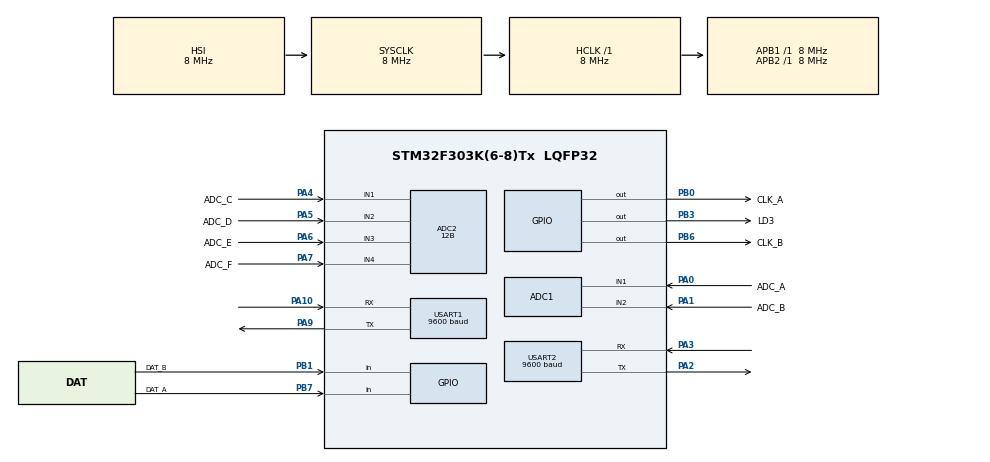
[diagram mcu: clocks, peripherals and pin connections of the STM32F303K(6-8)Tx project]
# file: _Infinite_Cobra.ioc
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ADC1.Channel-0\#ChannelRegularConversion=ADC_CHANNEL_1
ADC1.NbrOfConversionFlag=1
ADC1.Offset-0\#ChannelRegularConversion=0
ADC1.OffsetNumber-0\#ChannelRegularConversion=ADC_OFFSET_NONE
ADC1.Rank-0\#ChannelRegularConversion=1
ADC1.SamplingTime-0\#ChannelRegularConversion=ADC_SAMPLETIME_1CYCLE_5
ADC1.SubFamily=STM32F303x8
ADC1.master=1
ADC2.Channel-0\#ChannelRegularConversion=ADC_CHANNEL_1
ADC2.ClockPrescaler=ADC_CLOCK_ASYNC_DIV1
ADC2.ContinuousConvMode=DISABLE
ADC2.DMAContinuousRequests=DISABLE
ADC2.DataAlign=ADC_DATAALIGN_RIGHT
ADC2.DiscontinuousConvMode=DISABLE
ADC2.EOCSelection=ADC_EOC_SINGLE_CONV
ADC2.EnableAnalogWatchDog1=false
ADC2.EnableAnalogWatchDog2=false
ADC2.EnableAnalogWatchDog3=false
ADC2.EnableInjectedConversion=ENABLE
ADC2.EnableRegularConversion=ENABLE
ADC2.ExternalTrigConv=ADC_SOFTWARE_START
ADC2.ExternalTrigConvEdge=ADC_EXTERNALTRIGCONVEDGE_NONE
ADC2.InjNumberOfConversion=0
ADC2.LowPowerAutoWait=DISABLE
ADC2.NbrOfConversion=1
ADC2.NbrOfConversionFlag=1
ADC2.Offset-0\#ChannelRegularConversion=0
ADC2.OffsetNumber-0\#ChannelRegularConversion=ADC_OFFSET_NONE
ADC2.Overrun=ADC_OVR_DATA_OVERWRITTEN
ADC2.Rank-0\#ChannelRegularConversion=1
ADC2.Resolution=ADC_RESOLUTION_12B
ADC2.SamplingTime-0\#ChannelRegularConversion=ADC_SAMPLETIME_1CYCLE_5
ADC2.ScanConvMode=ADC_SCAN_DISABLE
ADC2.SubFamily=STM32F303x8
Dma.Request0=USART1_RX
Dma.Request1=USART1_TX
Dma.Request2=USART2_RX
Dma.Request3=USART2_TX
Dma.USART1_RX.0.Direction=DMA_PERIPH_TO_MEMORY
Dma.USART1_RX.0.Instance=DMA1_Channel5
Dma.USART1_RX.0.MemDataAlignment=DMA_MDATAALIGN_BYTE
Dma.USART1_RX.0.MemInc=DMA_MINC_ENABLE
Dma.USART1_RX.0.Mode=DMA_NORMAL
Dma.USART1_RX.0.PeriphDataAlignment=DMA_PDATAALIGN_BYTE
Dma.USART1_RX.0.PeriphInc=DMA_PINC_DISABLE
Dma.USART1_RX.0.Priority=DMA_PRIORITY_MEDIUM
Dma.USART1_TX.1.Direction=DMA_MEMORY_TO_PERIPH
Dma.USART1_TX.1.Instance=DMA1_Channel4
Dma.USART1_TX.1.MemDataAlignment=DMA_MDATAALIGN_BYTE
Dma.USART1_TX.1.MemInc=DMA_MINC_ENABLE
Dma.USART1_TX.1.Mode=DMA_NORMAL
Dma.USART1_TX.1.PeriphDataAlignment=DMA_PDATAALIGN_BYTE
Dma.USART1_TX.1.PeriphInc=DMA_PINC_DISABLE
Dma.USART1_TX.1.Priority=DMA_PRIORITY_MEDIUM
Dma.USART2_RX.2.Direction=DMA_PERIPH_TO_MEMORY
Dma.USART2_RX.2.Instance=DMA1_Channel6
Dma.USART2_RX.2.MemDataAlignment=DMA_MDATAALIGN_BYTE
Dma.USART2_RX.2.MemInc=DMA_MINC_ENABLE
Dma.USART2_RX.2.Mode=DMA_NORMAL
Dma.USART2_RX.2.PeriphDataAlignment=DMA_PDATAALIGN_BYTE
Dma.USART2_RX.2.PeriphInc=DMA_PINC_DISABLE
Dma.USART2_RX.2.Priority=DMA_PRIORITY_LOW
Dma.USART2_TX.3.Direction=DMA_MEMORY_TO_PERIPH
Dma.USART2_TX.3.Instance=DMA1_Channel7
Dma.USART2_TX.3.MemDataAlignment=DMA_MDATAALIGN_BYTE
Dma.USART2_TX.3.MemInc=DMA_MINC_ENABLE
Dma.USART2_TX.3.Mode=DMA_NORMAL
Dma.USART2_TX.3.PeriphDataAlignment=DMA_PDATAALIGN_BYTE
Dma.USART2_TX.3.PeriphInc=DMA_PINC_DISABLE
Dma.USART2_TX.3.Priority=DMA_PRIORITY_LOW
Mcu.Family=STM32F3
Mcu.Name=STM32F303K(6-8)Tx
Mcu.Package=LQFP32
NVIC.ADC1_2_IRQn=true\:0\:0\:false\:true\:true\:4\:true
NVIC.DMA1_Channel4_IRQn=true\:0\:0\:false\:true\:true\:1\:false
NVIC.DMA1_Channel5_IRQn=true\:0\:0\:false\:true\:true\:2\:false
NVIC.DMA1_Channel6_IRQn=true\:0\:0\:false\:true\:true\:3\:false
NVIC.DMA1_Channel7_IRQn=true\:0\:0\:false\:true\:true\:6\:false
NVIC.PriorityGroup=NVIC_PRIORITYGROUP_4
NVIC.USART1_IRQn=true\:0\:0\:false\:true\:true\:5\:true
NVIC.USART2_IRQn=true\:0\:0\:false\:false\:true\:true
PA0.GPIO_Label=ADC_A
PA0.Mode=IN1-Single-Ended
PA0.Signal=ADC1_IN1
PA1.GPIO_Label=ADC_B
PA1.Mode=IN2-Single-Ended
PA1.Signal=ADC1_IN2
PA10.Mode=Asynchronous
PA10.Signal=USART1_RX
PA2.Mode=Asynchronous
PA2.Signal=USART2_TX
PA3.Mode=Asynchronous
PA3.Signal=USART2_RX
PA4.GPIO_Label=ADC_C
PA4.Mode=IN1-Single-Ended
PA4.Signal=ADC2_IN1
PA5.GPIO_Label=ADC_D
PA5.Mode=IN2-Single-Ended
PA5.Signal=ADC2_IN2
PA6.GPIO_Label=ADC_E
PA6.Mode=IN3-Single-Ended
PA6.Signal=ADC2_IN3
PA7.GPIO_Label=ADC_F
PA7.Mode=IN4-Single-Ended
PA7.Signal=ADC2_IN4
PA9.Mode=Asynchronous
PA9.Signal=USART1_TX
PB0.GPIO_Label=CLK_A
PB0.Signal=GPIO_Output
PB1.GPIO_Label=DAT_B
PB1.Signal=GPIO_Input
PB3.GPIO_Label=LD3
PB3.Signal=GPIO_Output
PB6.GPIO_FM6=SYSCFG_CFGR1_I2C_PB6_FMP
PB6.GPIO_Label=CLK_B
PB6.Signal=GPIO_Output
PB7.GPIO_Label=DAT_A
PB7.Signal=GPIO_Input
PF0\ /\ OSC_IN.Mode=HSE-External-Oscillator
PF0\ /\ OSC_IN.Signal=RCC_OSC_IN
PF1\ /\ OSC_OUT.Mode=HSE-External-Oscillator
PF1\ /\ OSC_OUT.Signal=RCC_OSC_OUT
ProjectManager.HeapSize=0x200
ProjectManager.StackSize=0x400
ProjectManager.TargetToolchain=TrueSTUDIO
RCC.AHBFreq_Value=8000000
RCC.APB1Freq_Value=8000000
RCC.APB2Freq_Value=8000000
RCC.CortexFreq_Value=8000000
RCC.HSE_VALUE=8000000
RCC.HSI_VALUE=8000000
RCC.PLLMUL=RCC_PLL_MUL4
RCC.SYSCLKFreq_VALUE=8000000
USART1.BaudRate=9600
USART1.VirtualMode-Asynchronous=VM_ASYNC
USART1.WordLength=WORDLENGTH_8B
USART2.BaudRate=9600
USART2.VirtualMode-Asynchronous=VM_ASYNC
USART2.WordLength=WORDLENGTH_8B
board=_Infinite_Cobra

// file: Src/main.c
/**
 ******************************************************************************
 * @file           : main.c
 * @brief          : Main program body
 ******************************************************************************
 ** This notice applies to any and all portions of this file
 * that are not between comment pairs USER CODE BEGIN and
 * USER CODE END. Other portions of this file, whether
 * inserted by the user or by software development tools
 * are owned by their respective copyright owners.
 *
 * COPYRIGHT(c) 2018 STMicroelectronics
 *
 * Redistribution and use in source and binary forms, with or without modification,
 * are permitted provided that the following conditions are met:
 *   1. Redistributions of source code must retain the above copyright notice,
 *      this list of conditions and the following disclaimer.
 *   2. Redistributions in binary form must reproduce the above copyright notice,
 *      this list of conditions and the following disclaimer in the documentation
 *      and/or other materials provided with the distribution.
 *   3. Neither the name of STMicroelectronics nor the names of its contributors
 *      may be used to endorse or promote products derived from this software
 *      without specific prior written permission.
 *
 * THIS SOFTWARE IS PROVIDED BY THE COPYRIGHT HOLDERS AND CONTRIBUTORS "AS IS"
 * AND ANY EXPRESS OR IMPLIED WARRANTIES, INCLUDING, BUT NOT LIMITED TO, THE
 * IMPLIED WARRANTIES OF MERCHANTABILITY AND FITNESS FOR A PARTICULAR PURPOSE ARE
 * DISCLAIMED. IN NO EVENT SHALL THE COPYRIGHT HOLDER OR CONTRIBUTORS BE LIABLE
 * FOR ANY DIRECT, INDIRECT, INCIDENTAL, SPECIAL, EXEMPLARY, OR CONSEQUENTIAL
 * DAMAGES (INCLUDING, BUT NOT LIMITED TO, PROCUREMENT OF SUBSTITUTE GOODS OR
 * SERVICES; LOSS OF USE, DATA, OR PROFITS; OR BUSINESS INTERRUPTION) HOWEVER
 * CAUSED AND ON ANY THEORY OF LIABILITY, WHETHER IN CONTRACT, STRICT LIABILITY,
 * OR TORT (INCLUDING NEGLIGENCE OR OTHERWISE) ARISING IN ANY WAY OUT OF THE USE
 * OF THIS SOFTWARE, EVEN IF ADVISED OF THE POSSIBILITY OF SUCH DAMAGE.
 *
 ******************************************************************************
 */
#include "main.h"
#include "stm32f3xx_hal.h"

ADC_HandleTypeDef hadc1;
ADC_HandleTypeDef hadc2;

UART_HandleTypeDef huart1;
UART_HandleTypeDef huart2;
DMA_HandleTypeDef hdma_usart1_rx;
DMA_HandleTypeDef hdma_usart1_tx;
DMA_HandleTypeDef hdma_usart2_rx;
DMA_HandleTypeDef hdma_usart2_tx;

/* USER CODE BEGIN PV */
/* Private variables ---------------------------------------------------------*/

struct MSG;
struct CBUFF;
struct PARAMETERS;

CBUFF* cbuff = 0;
PARAMETERS* par = 0;

#define PIN_HI			1
#define PIN_LO			0
#define LSB				0
#define MSB				1
#define VERBOSE	TRUE

#define DAT_A_READ 		HAL_GPIO_ReadPin(DAT_A_GPIO_Port, DAT_A_Pin)
#define DAT_B_READ 		HAL_GPIO_ReadPin(DAT_B_GPIO_Port, DAT_B_Pin)
#define CLK_A_SET		HAL_GPIO_WritePin(CLK_A_GPIO_Port, CLK_A_Pin, GPIO_PIN_SET)
#define CLK_A_RESET		HAL_GPIO_WritePin(CLK_A_GPIO_Port, CLK_A_Pin, GPIO_PIN_RESET)
#define CLK_B_SET		HAL_GPIO_WritePin(CLK_B_GPIO_Port, CLK_B_Pin, GPIO_PIN_SET)
#define CLK_B_RESET		HAL_GPIO_WritePin(CLK_B_GPIO_Port, CLK_B_Pin, GPIO_PIN_RESET)
#define LED3_ON			HAL_GPIO_WritePin(LD3_GPIO_Port, LD3_Pin, GPIO_PIN_SET)
#define LED3_OFF		HAL_GPIO_WritePin(LD3_GPIO_Port, LD3_Pin, GPIO_PIN_RESET)

uint8_t buffer[B_SIZE];
uint8_t empty_buffer[B_SIZE];

uint8_t RX_B1[B_SIZE];
uint8_t RX_B2[B_SIZE];
uint8_t TX_B1[B_SIZE];
uint8_t TX_B2[B_SIZE];

char TX_T[B_SIZE];
char TX_A[B_SIZE];

uint8_t RX_buffer1[B_SIZE];
uint8_t RX_buffer2[B_SIZE];
uint8_t TX_buffer1[B_SIZE];
uint8_t TX_buffer2[B_SIZE];
uint8_t ADC_buffer[B_SIZE];
uint16_t len = sizeof(buffer), i, j, hmmmm;
int trans_delay = 75;
int ticker = 0;
unsigned long Count;

// EPOCHS
int epoch_LED = 0;
int epoch_TX = 0;
int epoch_INIT = 0;

volatile uint32_t a;
volatile uint32_t ADC_A_Value;
volatile uint32_t ADC_B_Value;
volatile uint32_t ADC_C_Value;
volatile uint32_t ADC_D_Value;
volatile uint32_t ADC_E_Value;
volatile uint32_t ADC_F_Value;

ADC_ChannelConfTypeDef sConfig_A;
ADC_ChannelConfTypeDef sConfig_B;
ADC_ChannelConfTypeDef sConfig_C;
ADC_ChannelConfTypeDef sConfig_D;
ADC_ChannelConfTypeDef sConfig_E;
ADC_ChannelConfTypeDef sConfig_F;

char* errorMsg = 0;

/* USER CODE END PV */

void SystemClock_Config(void);
static void MX_GPIO_Init(void);
static void MX_DMA_Init(void);
static void MX_USART1_UART_Init(void);
static void MX_USART2_UART_Init(void);
static void MX_ADC2_Init(void);
static void MX_ADC1_Init(void);
static void MX_NVIC_Init(void);

/* USER CODE BEGIN PFP */
/* Private function prototypes -----------------------------------------------*/
void Update_ADC_Values(void);
void read_HX711(void);
void HAL_Delay_Microseconds(__IO uint32_t);
int isTransmitting(UART_HandleTypeDef *, UART_HandleTypeDef *);
int strip_str(uint8_t[], uint8_t[]);
int channelBusy(UART_HandleTypeDef *);

/* USER CODE END PFP */

int main(void) {
	/* USER CODE BEGIN 1 */
	memset(RX_B1, 0, len);
	memset(RX_B2, 0, len);
	memset(TX_B1, 0, len);
	memset(TX_B2, 0, len);
	/* USER CODE END 1 */

	/* MCU Configuration----------------------------------------------------------*/

	/* Reset of all peripherals, Initializes the Flash interface and the Systick. */
	HAL_Init();

	/* Configure the system clock */
	SystemClock_Config();

	/* Initialize all configured peripherals */
	MX_GPIO_Init();
	MX_DMA_Init();
	MX_USART1_UART_Init();
	MX_USART2_UART_Init();
	MX_ADC2_Init();
	MX_ADC1_Init();

	/* Initialize interrupts */
	MX_NVIC_Init();
	/* USER CODE BEGIN 2 */

	memset(empty_buffer, 0, len);

	if (HAL_ADC_ConfigChannel(&hadc2, &sConfig_C) != HAL_OK) {
		_Error_Handler(__FILE__, __LINE__);
	}
	if (HAL_ADC_ConfigChannel(&hadc1, &sConfig_A) != HAL_OK) {
		_Error_Handler(__FILE__, __LINE__);
	}

	cbuff = circ_buff_init();
	par = parameters_init();
	/* USER CODE END 2 */

	/* Infinite loop */
	/* USER CODE BEGIN WHILE */
	/* USER CODE BEGIN WHILE */

	MSG* msg = 0;
	msg = (MSG*) malloc(sizeof(MSG));
	msg->type = 0;
	msg->ID = 0;
	msg->sign = 0;
	msg->value = 0;
	msg->complete = 0;

	MSG* msgT = 0;
	msgT = (MSG*) malloc(sizeof(MSG));
	msgT->type = 0;
	msgT->ID = 0;
	msgT->sign = 0;
	msgT->value = 0;
	msgT->complete = 0;

	MSG* msgA = 0;
	msgA = (MSG*) malloc(sizeof(MSG));
	msgA->type = 0;
	msgA->ID = 0;
	msgA->sign = 0;
	msgA->value = 0;
	msgA->complete = 0;

	memset(TX_buffer2, '&', B_SIZE);
	TX_buffer2[B_SIZE - 2] = '\n';
	TX_buffer2[B_SIZE - 1] = '\r';

	memset(TX_B1, 0, B_SIZE);
	sprintf(TX_B1, "\n\r\n\r/* BOOT COMPLETE -> INITIALISING [%d] */\n\r\n\r",
			getEGO());
	while (isTransmitting(&huart1, &huart2))
		;
	HAL_UART_Transmit_DMA(&huart1, TX_B1, B_SIZE);
	HAL_UART_Transmit_DMA(&huart2, TX_B1, B_SIZE);

	int i;
	uint8_t x = 0, x0 = x;
	msgERROR_init();
	epoch_INIT = HAL_GetTick();
	ADC_B_Value = 0;
	ADC_A_Value = 0;
	int pass_on = 1;
	int onetwo = 1;
	int mA = 0, mB = 0, count = 0;;

	while (1) {

		/* USER CODE END WHILE */

		/* USER CODE BEGIN 3 */
		Update_ADC_Values();
		//mA = mA + ADC_A_Value;
		//mB = mB + ADC_B_Value;
		mA = mA + -1.6614*ADC_A_Value + 5178.8;
		mB = mB + -17.484*ADC_B_Value + 26220;

		mA = (mA < 0) ? 0 : mA;
		mB = (mB < 0) ? 0 : mB;

		count = count+1;

		memset(ADC_buffer, 0, B_SIZE);
		sprintf(ADC_buffer, "|A|%u|\tB|%u|\t|mA|%u|\tmB|%u|\t\n\r",
				ADC_A_Value, ADC_B_Value, mA/count, mB/count);
		HAL_UART_Transmit_DMA(&huart1, ADC_buffer, B_SIZE);
		HAL_UART_Transmit_DMA(&huart2, ADC_buffer, B_SIZE);
		while (isTransmitting(&huart1, &huart2))
			;
		/* Toggle LED */
		if (HAL_GetTick() > (epoch_LED + D_LED)) {
			HAL_GPIO_TogglePin(LD3_GPIO_Port, LD3_Pin);
			epoch_LED = HAL_GetTick();
		}

	}

	free(msg);
	free(msgT);
	free(msgA);
	free(par);
	free(cbuff);
	/* USER CODE END 3 */

}

void SystemClock_Config(void) {

	RCC_OscInitTypeDef RCC_OscInitStruct;
	RCC_ClkInitTypeDef RCC_ClkInitStruct;
	RCC_PeriphCLKInitTypeDef PeriphClkInit;

	/**Initializes the CPU, AHB and APB busses clocks
	 */
	RCC_OscInitStruct.OscillatorType = RCC_OSCILLATORTYPE_HSI;
	RCC_OscInitStruct.HSIState = RCC_HSI_ON;
	RCC_OscInitStruct.HSICalibrationValue = 16;
	RCC_OscInitStruct.PLL.PLLState = RCC_PLL_ON;
	RCC_OscInitStruct.PLL.PLLSource = RCC_PLLSOURCE_HSI;
	RCC_OscInitStruct.PLL.PLLMUL = RCC_PLL_MUL4;
	if (HAL_RCC_OscConfig(&RCC_OscInitStruct) != HAL_OK) {
		_Error_Handler(__FILE__, __LINE__);
	}

	/**Initializes the CPU, AHB and APB busses clocks
	 */
	RCC_ClkInitStruct.ClockType = RCC_CLOCKTYPE_HCLK | RCC_CLOCKTYPE_SYSCLK
			| RCC_CLOCKTYPE_PCLK1 | RCC_CLOCKTYPE_PCLK2;
	RCC_ClkInitStruct.SYSCLKSource = RCC_SYSCLKSOURCE_HSI;
	RCC_ClkInitStruct.AHBCLKDivider = RCC_SYSCLK_DIV1;
	RCC_ClkInitStruct.APB1CLKDivider = RCC_HCLK_DIV1;
	RCC_ClkInitStruct.APB2CLKDivider = RCC_HCLK_DIV1;

	if (HAL_RCC_ClockConfig(&RCC_ClkInitStruct, FLASH_LATENCY_0) != HAL_OK) {
		_Error_Handler(__FILE__, __LINE__);
	}

	PeriphClkInit.PeriphClockSelection = RCC_PERIPHCLK_USART1
			| RCC_PERIPHCLK_ADC12;
	PeriphClkInit.Usart1ClockSelection = RCC_USART1CLKSOURCE_PCLK1;
	PeriphClkInit.Adc12ClockSelection = RCC_ADC12PLLCLK_DIV1;
	if (HAL_RCCEx_PeriphCLKConfig(&PeriphClkInit) != HAL_OK) {
		_Error_Handler(__FILE__, __LINE__);
	}

	/**Configure the Systick interrupt time
	 */
	HAL_SYSTICK_Config(HAL_RCC_GetHCLKFreq() / 1000);

	/**Configure the Systick
	 */
	HAL_SYSTICK_CLKSourceConfig(SYSTICK_CLKSOURCE_HCLK);

	/* SysTick_IRQn interrupt configuration */
	HAL_NVIC_SetPriority(SysTick_IRQn, 0, 0);
}

/**
 * @brief NVIC Configuration.
 * @retval None
 */
static void MX_NVIC_Init(void) {
	/* DMA1_Channel4_IRQn interrupt configuration */
	HAL_NVIC_SetPriority(DMA1_Channel4_IRQn, 0, 0);
	HAL_NVIC_EnableIRQ(DMA1_Channel4_IRQn);
	/* DMA1_Channel5_IRQn interrupt configuration */
	HAL_NVIC_SetPriority(DMA1_Channel5_IRQn, 0, 0);
	HAL_NVIC_EnableIRQ(DMA1_Channel5_IRQn);
	/* DMA1_Channel6_IRQn interrupt configuration */
	HAL_NVIC_SetPriority(DMA1_Channel6_IRQn, 0, 0);
	HAL_NVIC_EnableIRQ(DMA1_Channel6_IRQn);
	/* ADC1_2_IRQn interrupt configuration */
	HAL_NVIC_SetPriority(ADC1_2_IRQn, 0, 0);
	HAL_NVIC_EnableIRQ(ADC1_2_IRQn);
	/* USART1_IRQn interrupt configuration */
	HAL_NVIC_SetPriority(USART1_IRQn, 0, 0);
	HAL_NVIC_EnableIRQ(USART1_IRQn);
	/* DMA1_Channel7_IRQn interrupt configuration */
	HAL_NVIC_SetPriority(DMA1_Channel7_IRQn, 0, 0);
	HAL_NVIC_EnableIRQ(DMA1_Channel7_IRQn);
}

/* ADC1 init function */
static void MX_ADC1_Init(void) {

	ADC_MultiModeTypeDef multimode;
	ADC_ChannelConfTypeDef sConfig;

	/**Common config
	 */
	hadc1.Instance = ADC1;
	hadc1.Init.ClockPrescaler = ADC_CLOCK_ASYNC_DIV1;
	hadc1.Init.Resolution = ADC_RESOLUTION_12B;
	hadc1.Init.ScanConvMode = ADC_SCAN_DISABLE;
	hadc1.Init.ContinuousConvMode = DISABLE;
	hadc1.Init.DiscontinuousConvMode = DISABLE;
	hadc1.Init.ExternalTrigConvEdge = ADC_EXTERNALTRIGCONVEDGE_NONE;
	hadc1.Init.ExternalTrigConv = ADC_SOFTWARE_START;
	hadc1.Init.DataAlign = ADC_DATAALIGN_RIGHT;
	hadc1.Init.NbrOfConversion = 1;
	hadc1.Init.DMAContinuousRequests = DISABLE;
	hadc1.Init.EOCSelection = ADC_EOC_SINGLE_CONV;
	hadc1.Init.LowPowerAutoWait = DISABLE;
	hadc1.Init.Overrun = ADC_OVR_DATA_OVERWRITTEN;
	if (HAL_ADC_Init(&hadc1) != HAL_OK) {
		_Error_Handler(__FILE__, __LINE__);
	}

	/**Configure the ADC multi-mode
	 */
	multimode.Mode = ADC_MODE_INDEPENDENT;
	if (HAL_ADCEx_MultiModeConfigChannel(&hadc1, &multimode) != HAL_OK) {
		_Error_Handler(__FILE__, __LINE__);
	}

	/**Configure Regular Channel
	 */
	sConfig_A.Channel = ADC_CHANNEL_1;
	sConfig_A.Rank = ADC_REGULAR_RANK_1;
	sConfig_A.SingleDiff = ADC_SINGLE_ENDED;
	sConfig_A.SamplingTime = ADC_SAMPLETIME_1CYCLE_5;
	sConfig_A.OffsetNumber = ADC_OFFSET_NONE;
	sConfig_A.Offset = 0;
	if (HAL_ADC_ConfigChannel(&hadc1, &sConfig_A) != HAL_OK) {
		_Error_Handler(__FILE__, __LINE__);
	}

	sConfig_B.Channel = ADC_CHANNEL_2;
	sConfig_B.Rank = ADC_REGULAR_RANK_1;
	sConfig_B.SingleDiff = ADC_SINGLE_ENDED;
	sConfig_B.SamplingTime = ADC_SAMPLETIME_1CYCLE_5;
	sConfig_B.OffsetNumber = ADC_OFFSET_NONE;
	sConfig_B.Offset = 0;
	if (HAL_ADC_ConfigChannel(&hadc1, &sConfig_B) != HAL_OK) {
		_Error_Handler(__FILE__, __LINE__);
	}

}

/* ADC2 init function */
static void MX_ADC2_Init(void) {

	ADC_ChannelConfTypeDef sConfig;

	/**Common config
	 */
	hadc2.Instance = ADC2;
	hadc2.Init.ClockPrescaler = ADC_CLOCK_ASYNC_DIV1;
	hadc2.Init.Resolution = ADC_RESOLUTION_12B;
	hadc2.Init.ScanConvMode = ADC_SCAN_DISABLE;
	hadc2.Init.ContinuousConvMode = DISABLE;
	hadc2.Init.DiscontinuousConvMode = DISABLE;
	hadc2.Init.ExternalTrigConvEdge = ADC_EXTERNALTRIGCONVEDGE_NONE;
	hadc2.Init.ExternalTrigConv = ADC_SOFTWARE_START;
	hadc2.Init.DataAlign = ADC_DATAALIGN_RIGHT;
	hadc2.Init.NbrOfConversion = 1;
	hadc2.Init.DMAContinuousRequests = DISABLE;
	hadc2.Init.EOCSelection = ADC_EOC_SINGLE_CONV;
	hadc2.Init.LowPowerAutoWait = DISABLE;
	hadc2.Init.Overrun = ADC_OVR_DATA_OVERWRITTEN;
	if (HAL_ADC_Init(&hadc2) != HAL_OK) {
		_Error_Handler(__FILE__, __LINE__);
	}

	/**Configure Regular Channel
	 */
	sConfig_C.Channel = ADC_CHANNEL_1;
	sConfig_C.Rank = ADC_REGULAR_RANK_1;
	sConfig_C.SingleDiff = ADC_SINGLE_ENDED;
	sConfig_C.SamplingTime = ADC_SAMPLETIME_1CYCLE_5;
	sConfig_C.OffsetNumber = ADC_OFFSET_NONE;
	sConfig_C.Offset = 0;
	if (HAL_ADC_ConfigChannel(&hadc2, &sConfig_C) != HAL_OK) {
		_Error_Handler(__FILE__, __LINE__);
	}

	sConfig_D.Channel = ADC_CHANNEL_2;
	sConfig_D.Rank = ADC_REGULAR_RANK_1;
	sConfig_D.SingleDiff = ADC_SINGLE_ENDED;
	sConfig_D.SamplingTime = ADC_SAMPLETIME_1CYCLE_5;
	sConfig_D.OffsetNumber = ADC_OFFSET_NONE;
	sConfig_D.Offset = 0;
	if (HAL_ADC_ConfigChannel(&hadc2, &sConfig_D) != HAL_OK) {
		_Error_Handler(__FILE__, __LINE__);
	}

	sConfig_E.Channel = ADC_CHANNEL_3;
	sConfig_E.Rank = ADC_REGULAR_RANK_1;
	sConfig_E.SingleDiff = ADC_SINGLE_ENDED;
	sConfig_E.SamplingTime = ADC_SAMPLETIME_1CYCLE_5;
	sConfig_E.OffsetNumber = ADC_OFFSET_NONE;
	sConfig_E.Offset = 0;
	if (HAL_ADC_ConfigChannel(&hadc2, &sConfig_E) != HAL_OK) {
		_Error_Handler(__FILE__, __LINE__);
	}

	sConfig_F.Channel = ADC_CHANNEL_4;
	sConfig_F.Rank = ADC_REGULAR_RANK_1;
	sConfig_F.SingleDiff = ADC_SINGLE_ENDED;
	sConfig_F.SamplingTime = ADC_SAMPLETIME_1CYCLE_5;
	sConfig_F.OffsetNumber = ADC_OFFSET_NONE;
	sConfig_F.Offset = 0;
	if (HAL_ADC_ConfigChannel(&hadc2, &sConfig_F) != HAL_OK) {
		_Error_Handler(__FILE__, __LINE__);
	}

}

/* USART1 init function */
static void MX_USART1_UART_Init(void) {

	huart1.Instance = USART1;
	huart1.Init.BaudRate = 9600;
	huart1.Init.WordLength = UART_WORDLENGTH_8B;
	huart1.Init.StopBits = UART_STOPBITS_1;
	huart1.Init.Parity = UART_PARITY_NONE;
	huart1.Init.Mode = UART_MODE_TX_RX;
	huart1.Init.HwFlowCtl = UART_HWCONTROL_NONE;
	huart1.Init.OverSampling = UART_OVERSAMPLING_16;
	huart1.Init.OneBitSampling = UART_ONE_BIT_SAMPLE_DISABLE;
	huart1.AdvancedInit.AdvFeatureInit = UART_ADVFEATURE_NO_INIT;
	if (HAL_UART_Init(&huart1) != HAL_OK) {
		_Error_Handler(__FILE__, __LINE__);
	}

}

/* USART2 init function */
static void MX_USART2_UART_Init(void) {

	huart2.Instance = USART2;
	huart2.Init.BaudRate = 9600;
	huart2.Init.WordLength = UART_WORDLENGTH_8B;
	huart2.Init.StopBits = UART_STOPBITS_1;
	huart2.Init.Parity = UART_PARITY_NONE;
	huart2.Init.Mode = UART_MODE_TX_RX;
	huart2.Init.HwFlowCtl = UART_HWCONTROL_NONE;
	huart2.Init.OverSampling = UART_OVERSAMPLING_16;
	huart2.Init.OneBitSampling = UART_ONE_BIT_SAMPLE_DISABLE;
	huart2.AdvancedInit.AdvFeatureInit = UART_ADVFEATURE_NO_INIT;
	if (HAL_UART_Init(&huart2) != HAL_OK) {
		_Error_Handler(__FILE__, __LINE__);
	}

}

static void MX_DMA_Init(void) {
	/* DMA controller clock enable */
	__HAL_RCC_DMA1_CLK_ENABLE()
	;

}

/** Configure pins as
 * Analog
 * Input
 * Output
 * EVENT_OUT
 * EXTI
 */
static void MX_GPIO_Init(void) {

	GPIO_InitTypeDef GPIO_InitStruct;

	/* GPIO Ports Clock Enable */
	__HAL_RCC_GPIOF_CLK_ENABLE()
	;
	__HAL_RCC_GPIOA_CLK_ENABLE()
	;
	__HAL_RCC_GPIOB_CLK_ENABLE()
	;

	/*Configure GPIO pin Output Level */
	HAL_GPIO_WritePin(GPIOB, CLK_A_Pin | LD3_Pin | CLK_B_Pin, GPIO_PIN_RESET);

	/*Configure GPIO pins : CLK_A_Pin LD3_Pin CLK_B_Pin */
	GPIO_InitStruct.Pin = CLK_A_Pin | LD3_Pin | CLK_B_Pin;
	GPIO_InitStruct.Mode = GPIO_MODE_OUTPUT_PP;
	GPIO_InitStruct.Pull = GPIO_NOPULL;
	GPIO_InitStruct.Speed = GPIO_SPEED_FREQ_LOW;
	HAL_GPIO_Init(GPIOB, &GPIO_InitStruct);

	/*Configure GPIO pins : DAT_B_Pin DAT_A_Pin */
	GPIO_InitStruct.Pin = DAT_B_Pin | DAT_A_Pin;
	GPIO_InitStruct.Mode = GPIO_MODE_INPUT;
	GPIO_InitStruct.Pull = GPIO_NOPULL;
	HAL_GPIO_Init(GPIOB, &GPIO_InitStruct);

	/**/
	HAL_I2CEx_EnableFastModePlus(SYSCFG_CFGR1_I2C_PB6_FMP);

}

/* USER CODE BEGIN 4 */
void Update_ADC_Values(void) {
	/* Read ADC_A
	 * ADC A */
	if (HAL_ADC_ConfigChannel(&hadc1, &sConfig_A) != HAL_OK) {
		Error_Handler();
	}
	if (HAL_ADC_Start(&hadc1) != HAL_OK) {
		Error_Handler();
	}
	if (HAL_ADC_PollForConversion(&hadc1, 50) == HAL_OK) {
		ADC_A_Value = HAL_ADC_GetValue(&hadc1);
	}
	if (HAL_ADC_Stop(&hadc1) != HAL_OK) {
		Error_Handler();
	}
	HAL_Delay(1);
	/* Read ADC_C
	 * ADC B */
	if (HAL_ADC_ConfigChannel(&hadc1, &sConfig_B) != HAL_OK) {
		Error_Handler();
	}
	if (HAL_ADC_Start(&hadc1) != HAL_OK) {
		Error_Handler();
	}
	if (HAL_ADC_PollForConversion(&hadc1, 50) == HAL_OK) {
		ADC_B_Value = HAL_ADC_GetValue(&hadc1);
	}
	if (HAL_ADC_Stop(&hadc1) != HAL_OK) {
		Error_Handler();
	}
	HAL_Delay(1);

	/* Read ADC_C
	 * ADC C = PA4 = A3 = ADC2 Channel 1 */
	if (HAL_ADC_ConfigChannel(&hadc2, &sConfig_C) != HAL_OK) {
		Error_Handler();
	}
	if (HAL_ADC_Start(&hadc2) != HAL_OK) {
		Error_Handler();
	}
	if (HAL_ADC_PollForConversion(&hadc2, 50) == HAL_OK) {
		ADC_C_Value = HAL_ADC_GetValue(&hadc2);
	}
	if (HAL_ADC_Stop(&hadc2) != HAL_OK) {
		Error_Handler();
	}
	HAL_Delay(1);

	/* Read ADC_D
	 * ADC D = PA5 = A4 = ADC2 Channel 2 */
	if (HAL_ADC_ConfigChannel(&hadc2, &sConfig_D) != HAL_OK) {
		Error_Handler();
	}
	if (HAL_ADC_Start(&hadc2) != HAL_OK) {
		Error_Handler();
	}
	if (HAL_ADC_PollForConversion(&hadc2, 50) == HAL_OK) {
		ADC_D_Value = HAL_ADC_GetValue(&hadc2);
	}
	if (HAL_ADC_Stop(&hadc2) != HAL_OK) {
		Error_Handler();
	}
	HAL_Delay(1);

	/* Read ADC_E
	 * ADC E = PA6 = A5 = ADC2 Channel 3 */
	if (HAL_ADC_ConfigChannel(&hadc2, &sConfig_E) != HAL_OK) {
		Error_Handler();
	}
	if (HAL_ADC_Start(&hadc2) != HAL_OK) {
		Error_Handler();
	}
	if (HAL_ADC_PollForConversion(&hadc2, 50) == HAL_OK) {
		ADC_E_Value = HAL_ADC_GetValue(&hadc2);
	}
	if (HAL_ADC_Stop(&hadc2) != HAL_OK) {
		Error_Handler();
	}
	HAL_Delay(1);

	/* Read ADC_F
	 * ADC F = PA7 = A6 = ADC2 Channel 4 */
	if (HAL_ADC_ConfigChannel(&hadc2, &sConfig_F) != HAL_OK) {
		Error_Handler();
	}
	if (HAL_ADC_Start(&hadc2) != HAL_OK) {
		Error_Handler();
	}
	if (HAL_ADC_PollForConversion(&hadc2, 50) == HAL_OK) {
		ADC_F_Value = HAL_ADC_GetValue(&hadc2);
	}
	if (HAL_ADC_Stop(&hadc2) != HAL_OK) {
		Error_Handler();
	}
	HAL_Delay(1);

	return;
}

int emptyRX(uint8_t RX_buffer[]) {
	int i = 0;
	for (i = 0; i < (B_SIZE - 2); i++) {
		if (RX_buffer[i] != 0) {
			return 1;
		}
	}
	return 0;

}

int strip_str(uint8_t RX_buffer[], uint8_t TX_buffer[]) {
	int i = 0;
	int index = 0;
	for (i = 0; i < (B_SIZE); i++) {
		if (RX_buffer[i] != 0) {
			TX_buffer[index] = RX_buffer[i];
			index++;
		}
	}
	return index;
}

int isTransmitting(UART_HandleTypeDef *huart1, UART_HandleTypeDef *huart2) {
	return ((huart1->gState != HAL_UART_STATE_READY)
			|| (huart2->gState != HAL_UART_STATE_READY)) ? 1 : 0;
}

void read_HX711(void) {
	/* Adapted from Arduino Script "ShiftIn()" */
	// Count should always be 24
	// order is MSB for HX711
	Count = 0;
	LED3_ON;
	while (DAT_B_READ) {
		;
	}

	for (uint8_t i = 0; i < 24; i++) {
		CLK_B_SET;
		Count = Count << 1;
		DAT_B_READ ? Count++ : 0; // if High
		CLK_B_RESET;
	}

	for (i = 0; i < 3; i++) {
		CLK_B_SET;
		CLK_B_RESET;
	}

	ADC_B_Value = Count ^ 0x800000;
	CLK_B_RESET;
	LED3_OFF;

	ADC_B_Value = ADC_A_Value;
	return;
}

void transmit(int channel, char* buffer) {
	UART_HandleTypeDef c;

	if (channel == 1) {
		c = huart1;
	} else {
		c = huart2;
	}
	while (isTransmitting(&huart1, &huart2))
		;
	HAL_UART_Transmit_DMA(&c, (uint8_t*) buffer, len);

	while (isTransmitting(&huart1, &huart2))
		;
	return;
}

void msgERROR_init(void) {
	errorMsg = (char*) malloc(sizeof(char) * errorMsgSize);
	return;
}

/**
 * @brief  Send out an error message if an incoming message is incorrect
 */
void msgERROR(int e, uint8_t c) {
	memset(errorMsg, 0, errorMsgSize);

	switch (e) {
	case BAD_TYPE:
		sprintf(errorMsg, "\n\rBAD_TYPE|%c|%d|\n\r", c, c);
		break;
	case BAD_ID:
		sprintf(errorMsg, "\n\rBAD_ID|%c|%d|\n\r", c, c);
		break;
	case BAD_SIGN:
		sprintf(errorMsg, "\n\rBAD_SIGN|%c|%d|\n\r", c, c);
		break;
	case BAD_LHS:
		sprintf(errorMsg, "\n\rBAD_LHS|%c|%d|\n\r", c, c);
		break;
	case BAD_DOT:
		sprintf(errorMsg, "\n\rBAD_DOT|%c|%d|\n\r", c, c);
		break;
	case BAD_RHS:
		sprintf(errorMsg, "\n\rBAD_RHS|%c|%d|\n\r", c, c);
		break;
	case BAD_COLON:
		sprintf(errorMsg, "\n\rBAD_COLON|%c|%d|\n\r", c, c);
		break;
	case BAD_LEN:
		sprintf(errorMsg, "\n\rBAD_LEN\n\r");
		break;
	default:
		sprintf(errorMsg, "\n\rBAD_MSG (you should not see this)\n\r");
		break;
	}

	while (isTransmitting(&huart1, &huart2))
		;
	HAL_UART_Transmit_DMA(&huart1, (uint8_t*) errorMsg, errorMsgSize);
	HAL_UART_Transmit_DMA(&huart2, (uint8_t*) errorMsg, errorMsgSize);
	return;
}

/* USER CODE END 4 */

void _Error_Handler(char *file, int line) {
	/* USER CODE BEGIN Error_Handler_Debug */
	/* User can add his own implementation to report the HAL error return state */
	while (1) {
		HAL_GPIO_TogglePin(LD3_GPIO_Port, LD3_Pin);
		HAL_Delay(trans_delay * 50);
	}
	/* USER CODE END Error_Handler_Debug */
}

/************************ (C) COPYRIGHT STMicroelectronics *****END OF FILE****/
